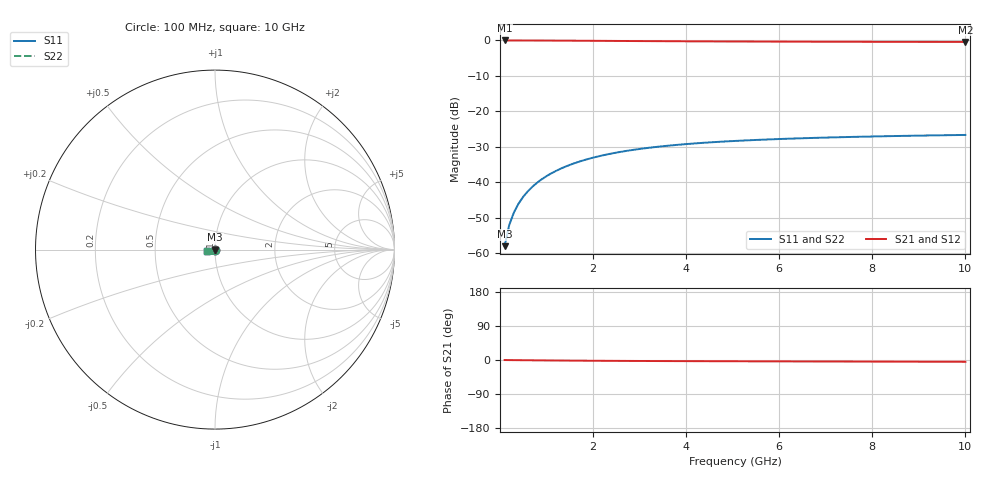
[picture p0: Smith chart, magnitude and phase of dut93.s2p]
! Touchstone file exported from HFSS 2024.1.0
!  File:  C:/UserFiles/LocalFiles/RDL_TSV_Batchsim/temp_TSV1_93_1778827277.aedt
!  Generated:  02:46:48 PM May 15, 2026
!  Design:  TSV1
!  Project:  temp_TSV1_93_1778827277
!  Setup:  Setup1
!  Solution:  Sweep
! Variables:
!  dtsv = 10.99um
!  hbump = 3um
!  htsv = 73.73um
!  lrdl = 252.1521522um
!  p = 40
!  p1 = 46.59um
!  t = 500um
!  trdl = 3um
!  wrdl = 24.89489489um
# GHz S MA R 50.000000
! Terminal data exported
! Port[1] = TSV22_T1
! Port[2] = TSV22_T2
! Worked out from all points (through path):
!   100 points, 100 MHz to 10 GHz, reference 50 ohm
!   highest |S21| = 0.00 dB at 100 MHz (marker M1); lowest = -0.4 dB at 10 GHz (marker M2)
!   lowest |S11| = -58.0 dB at 100 MHz (marker M3), VSWR 1.00, Z = 50 - j0.126 ohm
!   |S11| at or under -10 dB: start of sweep to end of sweep
!   |S22| runs from -58.0 to -26.6 dB; largest |S21 - S12| = 5.6e-15
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0.1  0.001261 -86.4  0.9998 -0.1  0.9998 -0.1  0.001261 -86.4
! Gamma 0 0 0 0
! Port Impedance 50 0 50 0
0.2  0.002516 -90.5  0.9997 -0.2  0.9997 -0.2  0.002516 -90.5
0.3  0.003772 -93.0  0.9995 -0.4  0.9995 -0.4  0.003772 -93.0
0.4  0.005023 -95.0  0.9992 -0.5  0.9992 -0.5  0.005023 -95.0
0.5  0.006266 -96.9  0.9989 -0.6  0.9989 -0.6  0.006266 -96.9
0.6  0.007496 -98.8  0.9985 -0.7  0.9985 -0.7  0.007496 -98.8
0.7  0.008711 -100.5  0.998 -0.8  0.998 -0.8  0.008711 -100.5
0.8  0.009908 -102.2  0.9975 -0.9  0.9975 -0.9  0.009908 -102.2
0.9  0.01108 -103.9  0.997 -1.0  0.997 -1.0  0.01108 -103.9
1.1  0.01337 -107.2  0.9957 -1.2  0.9957 -1.2  0.01337 -107.2
1.4  0.0166 -111.8  0.9935 -1.5  0.9935 -1.5  0.0166 -111.8
1.6  0.01861 -114.8  0.9919 -1.7  0.9919 -1.7  0.01861 -114.8
1.8  0.02051 -117.6  0.9902 -1.8  0.9902 -1.8  0.02051 -117.6
2.1  0.02314 -121.6  0.9876 -2.0  0.9876 -2.0  0.02314 -121.6
2.5  0.02625 -126.4  0.9842 -2.3  0.9842 -2.3  0.02625 -126.4
2.9  0.02894 -130.9  0.9809 -2.5  0.9809 -2.5  0.02894 -130.9
3.4  0.0318 -135.8  0.977 -2.8  0.977 -2.8  0.0318 -135.8
4.2  0.03544 -142.7  0.9716 -3.1  0.9716 -3.1  0.03544 -142.7
5.1  0.0385 -149.0  0.9667 -3.4  0.9667 -3.4  0.0385 -149.0
6.7  0.04225 -158.0  0.9604 -3.8  0.9604 -3.8  0.04225 -158.0
8.4  0.04486 -165.3  0.9559 -4.3  0.9559 -4.3  0.04486 -165.3
10  0.04661 -171.1  0.9529 -4.8  0.9529 -4.8  0.04661 -171.0
